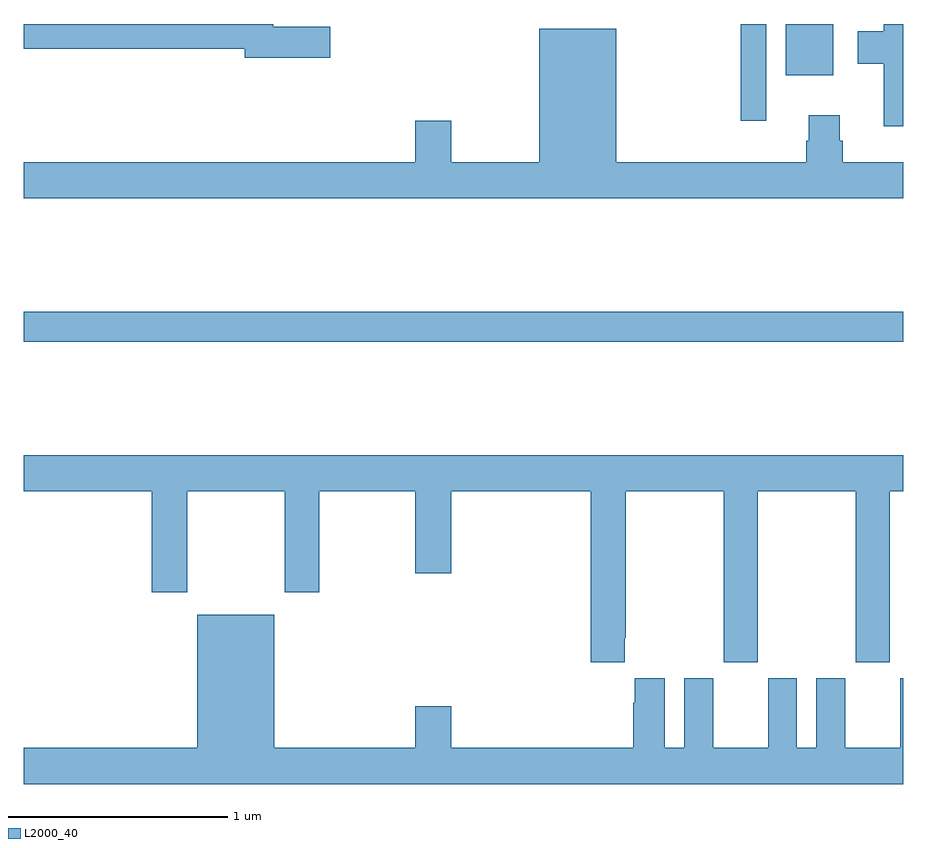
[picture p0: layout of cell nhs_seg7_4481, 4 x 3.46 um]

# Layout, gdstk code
import gdstk
lib = gdstk.Library(unit=1e-6, precision=1e-09)
def R(c, l, rs):  # rectangles x0, y0, x1, y1
    for r in rs: c.add(gdstk.rectangle(r[:2], r[2:], *l))
def P(c, l, *ps):  # polygons
    for p in ps: c.add(gdstk.Polygon(p, *l))
L2000_40 = (2000, 40)

nhs_seg7_4481 = lib.new_cell('nhs_seg7_4481')
R(nhs_seg7_4481, L2000_40, [(391,1074.556,395,1074.692), (394.261,1075.56,394.377,1076), (394.466,1075.766,394.681,1076)])
P(nhs_seg7_4481, L2000_40, [(395,1076),(394.91,1076),(394.91,1075.966),(394.793,1075.966),(394.793,1075.819),(394.91,1075.819),(394.91,1075.536),(395,1075.536)],
  [(392.395,1075.988),(392.134,1075.988),(392.134,1076),(391,1076),(391,1075.888),(392.006,1075.888),(392.006,1075.846),(392.395,1075.846)],
  [(395,1075.372),(394.724,1075.372),(394.724,1075.47),(394.711,1075.47),(394.711,1075.585),(394.571,1075.585),(394.571,1075.47),(394.559,1075.47),(394.559,1075.372),(393.694,1075.372),(393.694,1075.978),(393.344,1075.978),(393.344,1075.372),(392.944,1075.372),(392.944,1075.561),(392.78,1075.561),(392.78,1075.372),(391,1075.372),(391,1075.208),(395,1075.208)],
  [(393.733,1073.209),(393.738,1073.209),(393.738,1073.876),(394.183,1073.876),(394.183,1073.097),(394.338,1073.097),(394.338,1073.876),(394.783,1073.876),(394.783,1073.097),(394.938,1073.097),(394.938,1073.876),(395,1073.876),(395,1074.04),(391,1074.04),(391,1073.876),(391.583,1073.876),(391.583,1073.415),(391.743,1073.415),(391.743,1073.876),(392.188,1073.876),(392.188,1073.415),(392.343,1073.415),(392.343,1073.876),(392.78,1073.876),(392.78,1073.502),(392.944,1073.502),(392.944,1073.876),(393.578,1073.876),(393.578,1073.097),(393.733,1073.097)],
  [(395,1073.026),(394.985,1073.026),(394.985,1072.708),(394.735,1072.708),(394.735,1073.026),(394.604,1073.026),(394.604,1072.708),(394.516,1072.708),(394.516,1073.026),(394.385,1073.026),(394.385,1072.708),(394.135,1072.708),(394.135,1073.026),(394.004,1073.026),(394.004,1072.708),(393.916,1072.708),(393.916,1073.026),(393.779,1073.026),(393.779,1072.913),(393.773,1072.913),(393.773,1072.708),(392.944,1072.708),(392.944,1072.897),(392.78,1072.897),(392.78,1072.708),(392.14,1072.708),(392.14,1073.314),(391.79,1073.314),(391.79,1072.708),(391,1072.708),(391,1072.544),(395,1072.544)])

lib.write_gds('nhs_seg7_4481.gds')
